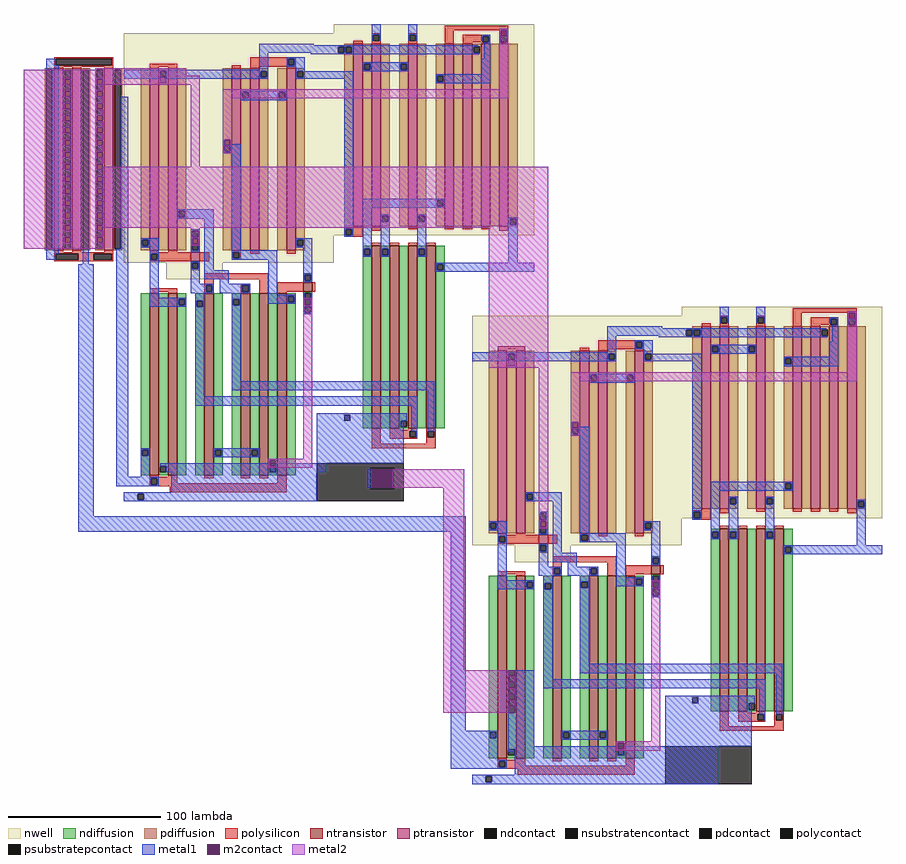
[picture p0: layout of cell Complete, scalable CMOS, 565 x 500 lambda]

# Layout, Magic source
magic
tech scmos
<< polysilicon >>
rect -363 295 -324 296
rect -363 291 -362 295
rect -325 291 -324 295
rect -363 290 -324 291
rect -363 289 -357 290
rect -351 289 -345 290
rect -330 289 -324 290
rect -363 168 -357 169
rect -351 168 -345 169
rect -330 168 -324 169
rect -363 167 -324 168
rect -363 163 -362 167
rect -347 163 -337 167
rect -325 163 -324 167
rect -363 162 -324 163
<< ndiffusion >>
rect -155 12 -139 26
<< pdiffusion >>
rect -369 288 -363 289
rect -369 170 -368 288
rect -364 170 -363 288
rect -369 169 -363 170
rect -357 288 -351 289
rect -357 282 -356 288
rect -352 282 -351 288
rect -357 278 -351 282
rect -357 274 -356 278
rect -352 274 -351 278
rect -357 270 -351 274
rect -357 266 -356 270
rect -352 266 -351 270
rect -357 262 -351 266
rect -357 258 -356 262
rect -352 258 -351 262
rect -357 254 -351 258
rect -357 250 -356 254
rect -352 250 -351 254
rect -357 246 -351 250
rect -357 242 -356 246
rect -352 242 -351 246
rect -357 238 -351 242
rect -357 234 -356 238
rect -352 234 -351 238
rect -357 230 -351 234
rect -357 226 -356 230
rect -352 226 -351 230
rect -357 222 -351 226
rect -357 218 -356 222
rect -352 218 -351 222
rect -357 214 -351 218
rect -357 210 -356 214
rect -352 210 -351 214
rect -357 206 -351 210
rect -357 202 -356 206
rect -352 202 -351 206
rect -357 198 -351 202
rect -357 194 -356 198
rect -352 194 -351 198
rect -357 190 -351 194
rect -357 186 -356 190
rect -352 186 -351 190
rect -357 182 -351 186
rect -357 178 -356 182
rect -352 178 -351 182
rect -357 174 -351 178
rect -357 170 -356 174
rect -352 170 -351 174
rect -357 169 -351 170
rect -345 288 -339 289
rect -345 170 -344 288
rect -340 170 -339 288
rect -345 169 -339 170
rect -336 288 -330 289
rect -336 282 -335 288
rect -331 282 -330 288
rect -336 278 -330 282
rect -336 274 -335 278
rect -331 274 -330 278
rect -336 270 -330 274
rect -336 266 -335 270
rect -331 266 -330 270
rect -336 262 -330 266
rect -336 258 -335 262
rect -331 258 -330 262
rect -336 254 -330 258
rect -336 250 -335 254
rect -331 250 -330 254
rect -336 246 -330 250
rect -336 242 -335 246
rect -331 242 -330 246
rect -336 238 -330 242
rect -336 234 -335 238
rect -331 234 -330 238
rect -336 230 -330 234
rect -336 226 -335 230
rect -331 226 -330 230
rect -336 222 -330 226
rect -336 218 -335 222
rect -331 218 -330 222
rect -336 214 -330 218
rect -336 210 -335 214
rect -331 210 -330 214
rect -336 206 -330 210
rect -336 202 -335 206
rect -331 202 -330 206
rect -336 198 -330 202
rect -336 194 -335 198
rect -331 194 -330 198
rect -336 190 -330 194
rect -336 186 -335 190
rect -331 186 -330 190
rect -336 182 -330 186
rect -336 178 -335 182
rect -331 178 -330 182
rect -336 174 -330 178
rect -336 170 -335 174
rect -331 170 -330 174
rect -336 169 -330 170
rect -324 288 -318 289
rect -324 170 -323 288
rect -319 170 -318 288
rect -324 169 -318 170
<< metal1 >>
rect -368 291 -362 295
rect -368 288 -360 291
rect -364 170 -360 288
rect -319 170 -314 270
rect -368 167 -360 170
rect -368 163 -362 167
rect -344 160 -340 170
rect -347 -6 -337 160
rect -322 14 -314 170
rect -157 13 -154 25
rect -347 -16 -92 -6
rect -102 -147 -92 -16
rect -60 -135 -47 -107
rect -102 -172 -72 -147
rect -64 -157 -47 -135
rect -64 -161 74 -157
rect -60 -182 74 -161
<< metal2 >>
rect -336 288 -276 289
rect -383 282 -276 288
rect -383 278 -356 282
rect -352 278 -335 282
rect -331 278 -276 282
rect -383 274 -331 278
rect -383 270 -356 274
rect -352 270 -335 274
rect -383 266 -331 270
rect -383 262 -356 266
rect -352 262 -335 266
rect -383 258 -331 262
rect -383 254 -356 258
rect -352 254 -335 258
rect -383 250 -331 254
rect -383 246 -356 250
rect -352 246 -335 250
rect -383 242 -331 246
rect -383 238 -356 242
rect -352 238 -335 242
rect -383 234 -331 238
rect -383 230 -356 234
rect -352 230 -335 234
rect -383 226 -331 230
rect -383 222 -356 226
rect -352 222 -335 226
rect -331 222 -38 224
rect -383 218 -38 222
rect -383 214 -356 218
rect -352 214 -335 218
rect -331 214 -38 218
rect -383 210 -38 214
rect -383 206 -356 210
rect -352 206 -335 210
rect -331 206 -38 210
rect -383 202 -38 206
rect -383 198 -356 202
rect -352 198 -335 202
rect -331 198 -38 202
rect -383 194 -38 198
rect -383 190 -356 194
rect -352 190 -335 194
rect -331 190 -38 194
rect -383 186 -38 190
rect -383 182 -356 186
rect -352 182 -335 186
rect -331 184 -38 186
rect -383 178 -331 182
rect -383 174 -356 178
rect -352 174 -335 178
rect -383 170 -331 174
rect -77 92 -38 184
rect -140 13 -93 25
rect -107 -107 -93 13
rect -107 -111 -64 -107
rect -107 -115 -60 -111
rect -107 -119 -64 -115
rect -107 -123 -60 -119
rect -107 -127 -64 -123
rect -107 -131 -60 -127
rect -107 -135 -64 -131
<< ptransistor >>
rect -363 169 -357 289
rect -351 169 -345 289
rect -330 169 -324 289
<< polycontact >>
rect -362 291 -325 295
rect -362 163 -347 167
rect -337 163 -325 167
<< ndcontact >>
rect -64 -115 -60 -111
rect -64 -123 -60 -119
rect -64 -131 -60 -127
<< pdcontact >>
rect -368 170 -364 288
rect -356 282 -352 288
rect -356 274 -352 278
rect -356 266 -352 270
rect -356 258 -352 262
rect -356 250 -352 254
rect -356 242 -352 246
rect -356 234 -352 238
rect -356 226 -352 230
rect -356 218 -352 222
rect -356 210 -352 214
rect -356 202 -352 206
rect -356 194 -352 198
rect -356 186 -352 190
rect -356 178 -352 182
rect -356 170 -352 174
rect -344 170 -340 288
rect -335 282 -331 288
rect -335 274 -331 278
rect -335 266 -331 270
rect -335 258 -331 262
rect -335 250 -331 254
rect -335 242 -331 246
rect -335 234 -331 238
rect -335 226 -331 230
rect -335 218 -331 222
rect -335 210 -331 214
rect -335 202 -331 206
rect -335 194 -331 198
rect -335 186 -331 190
rect -335 178 -331 182
rect -335 170 -331 174
rect -323 170 -319 288
<< m2contact >>
rect -356 278 -352 282
rect -356 270 -352 274
rect -356 262 -352 266
rect -356 254 -352 258
rect -356 246 -352 250
rect -356 238 -352 242
rect -356 230 -352 234
rect -356 222 -352 226
rect -356 214 -352 218
rect -356 206 -352 210
rect -356 198 -352 202
rect -356 190 -352 194
rect -356 182 -352 186
rect -356 174 -352 178
rect -335 278 -331 282
rect -335 270 -331 274
rect -335 262 -331 266
rect -335 254 -331 258
rect -335 246 -331 250
rect -335 238 -331 242
rect -335 230 -331 234
rect -335 222 -331 226
rect -335 214 -331 218
rect -335 206 -331 210
rect -335 198 -331 202
rect -335 190 -331 194
rect -335 182 -331 186
rect -335 174 -331 178
rect -154 13 -140 25
rect -64 -111 -60 -107
rect -64 -119 -60 -115
rect -64 -127 -60 -123
rect -64 -135 -60 -131
use Opamp  Opamp_0
transform 1 0 -124 0 1 15
box -193 -11 77 303
use Opamp  Opamp_1
transform 1 0 105 0 1 -171
box -193 -11 77 303
<< end >>

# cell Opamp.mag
magic
tech scmos
<< metal1 >>
rect -66 14 -9 47
rect -160 -11 -66 14
<< psubstratepcontact >>
rect -66 -11 -9 14
use Bias  Bias_0
transform 1 0 -262 0 1 255
box 69 -266 207 42
use FCDAmp  FCDAmp_0
transform 1 0 -28 0 1 92
box -27 -68 105 211
<< labels >>
rlabel metal1 -52 10 -37 47 1 Gnd
<< end >>

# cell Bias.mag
magic
tech scmos
<< nwell >>
rect 69 -109 207 42
rect 97 -120 134 -109
<< ntransistor >>
rect 187 -128 193 -122
rect 86 -249 92 -129
rect 98 -249 104 -129
rect 122 -249 128 -129
rect 146 -249 152 -129
rect 158 -249 164 -129
rect 170 -249 176 -129
<< ptransistor >>
rect 86 -101 92 19
rect 98 -101 104 19
rect 140 -101 146 19
rect 152 -101 158 19
rect 176 -101 182 19
rect 113 -108 119 -102
<< ndiffusion >>
rect 187 -117 193 -116
rect 187 -121 188 -117
rect 192 -121 193 -117
rect 187 -122 193 -121
rect 187 -129 193 -128
rect 80 -232 86 -129
rect 80 -236 81 -232
rect 85 -236 86 -232
rect 80 -249 86 -236
rect 92 -243 98 -129
rect 92 -247 93 -243
rect 97 -247 98 -243
rect 92 -249 98 -247
rect 104 -133 110 -129
rect 104 -137 105 -133
rect 109 -137 110 -133
rect 104 -249 110 -137
rect 116 -134 122 -129
rect 116 -138 117 -134
rect 121 -138 122 -134
rect 116 -249 122 -138
rect 128 -232 134 -129
rect 128 -236 129 -232
rect 133 -236 134 -232
rect 128 -249 134 -236
rect 140 -133 146 -129
rect 140 -137 141 -133
rect 145 -137 146 -133
rect 140 -249 146 -137
rect 152 -232 158 -129
rect 152 -236 153 -232
rect 157 -236 158 -232
rect 152 -249 158 -236
rect 164 -243 170 -129
rect 164 -247 165 -243
rect 169 -247 170 -243
rect 164 -249 170 -247
rect 176 -131 182 -129
rect 176 -135 177 -131
rect 181 -135 182 -131
rect 176 -249 182 -135
rect 187 -133 188 -129
rect 192 -133 193 -129
rect 187 -138 193 -133
<< pdiffusion >>
rect 80 -94 86 19
rect 80 -98 81 -94
rect 85 -98 86 -94
rect 80 -101 86 -98
rect 92 17 98 19
rect 92 13 93 17
rect 97 13 98 17
rect 92 -101 98 13
rect 104 -75 110 19
rect 104 -79 105 -75
rect 109 -79 110 -75
rect 104 -101 110 -79
rect 134 -32 140 19
rect 134 -36 135 -32
rect 139 -36 140 -32
rect 113 -97 119 -92
rect 113 -101 114 -97
rect 118 -101 119 -97
rect 134 -101 140 -36
rect 146 3 152 19
rect 146 -1 147 3
rect 151 -1 152 3
rect 146 -101 152 -1
rect 158 17 164 19
rect 158 13 159 17
rect 163 13 164 17
rect 158 -101 164 13
rect 170 3 176 19
rect 170 -1 171 3
rect 175 -1 176 3
rect 170 -101 176 -1
rect 182 17 188 19
rect 182 13 183 17
rect 187 13 188 17
rect 182 -94 188 13
rect 182 -98 183 -94
rect 187 -98 188 -94
rect 182 -101 188 -98
rect 113 -102 119 -101
rect 113 -109 119 -108
rect 113 -113 114 -109
rect 118 -113 119 -109
rect 113 -114 119 -113
<< ndcontact >>
rect 188 -121 192 -117
rect 81 -236 85 -232
rect 93 -247 97 -243
rect 105 -137 109 -133
rect 117 -138 121 -134
rect 129 -236 133 -232
rect 141 -137 145 -133
rect 153 -236 157 -232
rect 165 -247 169 -243
rect 177 -135 181 -131
rect 188 -133 192 -129
<< pdcontact >>
rect 81 -98 85 -94
rect 93 13 97 17
rect 105 -79 109 -75
rect 135 -36 139 -32
rect 114 -101 118 -97
rect 147 -1 151 3
rect 159 13 163 17
rect 171 -1 175 3
rect 183 13 187 17
rect 183 -98 187 -94
rect 114 -113 118 -109
<< psubstratepcontact >>
rect 188 -142 192 -138
rect 78 -265 82 -261
<< nsubstratencontact >>
rect 114 -92 118 -88
<< polysilicon >>
rect 152 25 182 26
rect 86 20 104 22
rect 152 21 177 25
rect 181 21 182 25
rect 86 19 92 20
rect 98 19 104 20
rect 140 19 146 21
rect 152 20 182 21
rect 152 19 158 20
rect 176 19 182 20
rect 86 -102 92 -101
rect 98 -102 104 -101
rect 140 -102 146 -101
rect 86 -103 113 -102
rect 86 -107 87 -103
rect 91 -107 113 -103
rect 86 -108 113 -107
rect 119 -108 125 -102
rect 140 -106 141 -102
rect 145 -106 146 -102
rect 152 -103 158 -101
rect 176 -103 182 -101
rect 140 -107 146 -106
rect 122 -120 164 -116
rect 122 -124 128 -120
rect 86 -128 104 -126
rect 86 -129 92 -128
rect 98 -129 104 -128
rect 122 -128 123 -124
rect 127 -128 128 -124
rect 122 -129 128 -128
rect 146 -124 152 -123
rect 146 -128 147 -124
rect 151 -128 152 -124
rect 146 -129 152 -128
rect 158 -129 164 -120
rect 170 -128 187 -122
rect 193 -128 195 -122
rect 170 -129 176 -128
rect 86 -250 92 -249
rect 98 -250 104 -249
rect 86 -251 104 -250
rect 122 -251 128 -249
rect 146 -251 152 -249
rect 158 -251 164 -249
rect 86 -255 87 -251
rect 91 -254 104 -251
rect 170 -254 176 -249
rect 91 -255 176 -254
rect 86 -256 176 -255
rect 99 -260 176 -256
<< polycontact >>
rect 177 21 181 25
rect 87 -107 91 -103
rect 141 -106 145 -102
rect 123 -128 127 -124
rect 147 -128 151 -124
rect 87 -255 91 -251
<< metal1 >>
rect 158 34 194 35
rect 158 29 207 34
rect 158 18 164 29
rect 192 28 207 29
rect 176 25 188 26
rect 176 21 177 25
rect 181 21 188 25
rect 176 20 188 21
rect 69 17 164 18
rect 69 12 93 17
rect 97 13 159 17
rect 163 13 164 17
rect 97 12 164 13
rect 182 17 188 20
rect 182 13 183 17
rect 187 13 207 17
rect 182 12 207 13
rect 146 3 176 4
rect 146 -1 147 3
rect 151 -1 171 3
rect 175 -1 176 3
rect 146 -2 176 -1
rect 134 -36 135 -31
rect 139 -36 146 -31
rect 134 -37 146 -36
rect 104 -75 128 -74
rect 104 -79 105 -75
rect 109 -79 128 -75
rect 104 -80 128 -79
rect 113 -88 119 -87
rect 113 -92 114 -88
rect 118 -92 119 -88
rect 113 -93 119 -92
rect 80 -94 92 -93
rect 80 -98 81 -94
rect 85 -98 92 -94
rect 80 -99 92 -98
rect 86 -103 92 -99
rect 113 -101 114 -93
rect 118 -101 119 -93
rect 113 -102 119 -101
rect 86 -107 87 -103
rect 91 -107 92 -103
rect 86 -132 92 -107
rect 113 -109 119 -108
rect 113 -113 114 -109
rect 118 -113 119 -109
rect 113 -123 119 -113
rect 122 -114 128 -80
rect 140 -101 146 -37
rect 182 -94 193 -93
rect 182 -98 183 -94
rect 187 -98 193 -94
rect 182 -99 193 -98
rect 140 -102 170 -101
rect 140 -106 141 -102
rect 145 -106 170 -102
rect 140 -107 170 -106
rect 122 -120 138 -114
rect 132 -123 138 -120
rect 113 -124 128 -123
rect 113 -128 123 -124
rect 127 -128 128 -124
rect 113 -129 128 -128
rect 132 -124 152 -123
rect 132 -128 147 -124
rect 151 -128 152 -124
rect 132 -129 152 -128
rect 86 -133 110 -132
rect 86 -137 105 -133
rect 109 -137 110 -133
rect 86 -138 110 -137
rect 116 -134 122 -129
rect 116 -138 117 -134
rect 121 -138 122 -134
rect 116 -197 122 -138
rect 140 -133 146 -129
rect 140 -137 141 -133
rect 145 -137 146 -133
rect 164 -130 170 -107
rect 187 -117 193 -99
rect 187 -121 188 -117
rect 192 -121 193 -117
rect 187 -122 193 -121
rect 164 -131 182 -130
rect 164 -135 177 -131
rect 181 -135 182 -131
rect 164 -136 182 -135
rect 140 -187 146 -137
rect 187 -137 188 -129
rect 192 -137 193 -129
rect 187 -138 193 -137
rect 187 -142 188 -138
rect 192 -142 193 -138
rect 187 -143 193 -142
rect 140 -193 207 -187
rect 116 -203 207 -197
rect 196 -214 207 -208
rect 80 -232 86 -231
rect 80 -236 81 -232
rect 85 -236 86 -232
rect 80 -250 86 -236
rect 128 -232 158 -231
rect 128 -236 129 -232
rect 133 -236 153 -232
rect 157 -236 158 -232
rect 128 -237 158 -236
rect 93 -243 165 -241
rect 196 -241 202 -214
rect 97 -247 165 -243
rect 169 -247 202 -241
rect 69 -251 92 -250
rect 69 -255 87 -251
rect 91 -255 92 -251
rect 69 -256 92 -255
rect 100 -260 106 -247
rect 69 -261 106 -260
rect 69 -265 78 -261
rect 82 -265 106 -261
rect 69 -266 106 -265
<< m2contact >>
rect 93 9 97 13
rect 135 -32 139 -28
rect 114 -97 118 -93
rect 188 -137 192 -133
rect 165 -243 169 -239
<< metal2 >>
rect 92 13 119 14
rect 92 9 93 13
rect 97 9 119 13
rect 92 8 119 9
rect 113 -93 119 8
rect 134 -1 207 5
rect 134 -28 140 -1
rect 134 -32 135 -28
rect 139 -32 140 -28
rect 134 -37 140 -32
rect 113 -97 114 -93
rect 118 -97 119 -93
rect 113 -98 119 -97
rect 187 -133 193 -132
rect 187 -137 188 -133
rect 192 -137 193 -133
rect 187 -238 193 -137
rect 164 -239 193 -238
rect 164 -243 165 -239
rect 169 -243 193 -239
rect 164 -244 193 -243
<< labels >>
rlabel metal1 192 28 207 34 1 Vdd
rlabel metal1 187 12 207 17 1 Vbp
rlabel metal2 134 -1 207 5 1 Vcp
rlabel metal1 140 -193 207 -187 1 Vcn
rlabel metal1 116 -203 207 -197 1 Vbn
rlabel metal1 69 -256 87 -250 1 Iin
rlabel metal1 69 12 93 18 1 Vdd
rlabel metal1 86 -138 92 -107 1 Iip
<< end >>

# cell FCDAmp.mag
magic
tech scmos
<< nwell >>
rect -27 72 105 211
<< ntransistor >>
rect -2 -55 4 65
rect 10 -55 16 65
rect 22 -55 28 65
rect 34 -55 40 65
<< ptransistor >>
rect -14 78 -8 198
rect -2 78 4 198
rect 22 78 28 198
rect 46 78 52 198
rect 58 78 64 198
rect 70 78 76 198
rect 82 78 88 198
<< ndiffusion >>
rect -8 63 -2 65
rect -8 59 -7 63
rect -3 59 -2 63
rect -8 -55 -2 59
rect 4 63 10 65
rect 4 59 5 63
rect 9 59 10 63
rect 4 -55 10 59
rect 16 -50 22 65
rect 16 -54 17 -50
rect 21 -54 22 -50
rect 16 -55 22 -54
rect 28 63 34 65
rect 28 59 29 63
rect 33 59 34 63
rect 28 -55 34 59
rect 40 53 46 65
rect 40 49 41 53
rect 45 49 46 53
rect 40 -55 46 49
<< pdiffusion >>
rect -20 196 -14 198
rect -20 192 -19 196
rect -15 192 -14 196
rect -20 78 -14 192
rect -8 185 -2 198
rect -8 181 -7 185
rect -3 181 -2 185
rect -8 78 -2 181
rect 4 85 10 198
rect 4 81 5 85
rect 9 81 10 85
rect 4 78 10 81
rect 16 185 22 198
rect 16 181 17 185
rect 21 181 22 185
rect 16 78 22 181
rect 28 85 34 198
rect 28 81 29 85
rect 33 81 34 85
rect 28 78 34 81
rect 40 177 46 198
rect 40 173 41 177
rect 45 173 46 177
rect 40 95 46 173
rect 40 91 41 95
rect 45 91 46 95
rect 40 78 46 91
rect 52 78 58 198
rect 64 196 70 198
rect 64 192 65 196
rect 69 192 70 196
rect 64 78 70 192
rect 76 78 82 198
rect 88 83 94 198
rect 88 79 89 83
rect 93 79 94 83
rect 88 78 94 79
<< ndcontact >>
rect -7 59 -3 63
rect 5 59 9 63
rect 17 -54 21 -50
rect 29 59 33 63
rect 41 49 45 53
<< pdcontact >>
rect -19 192 -15 196
rect -7 181 -3 185
rect 5 81 9 85
rect 17 181 21 185
rect 29 81 33 85
rect 41 173 45 177
rect 41 91 45 95
rect 65 192 69 196
rect 89 79 93 83
<< psubstratepcontact >>
rect -20 -50 -16 -46
<< nsubstratencontact >>
rect -24 192 -20 196
<< polysilicon >>
rect 46 207 88 210
rect -2 204 4 205
rect -2 200 -1 204
rect 3 200 4 204
rect -14 198 -8 200
rect -2 198 4 200
rect 22 204 28 205
rect 22 200 23 204
rect 27 200 28 204
rect 22 198 28 200
rect 46 198 52 207
rect 58 203 76 204
rect 58 199 71 203
rect 75 199 76 203
rect 58 198 64 199
rect 70 198 76 199
rect 82 203 88 207
rect 82 199 83 203
rect 87 199 88 203
rect 82 198 88 199
rect -14 77 -8 78
rect -20 76 -8 77
rect -20 72 -19 76
rect -15 72 -8 76
rect -2 75 4 78
rect 22 76 28 78
rect 46 76 52 78
rect 58 76 64 78
rect 70 76 76 78
rect 82 75 88 78
rect -20 71 -8 72
rect -2 65 4 67
rect 10 65 16 67
rect 22 65 28 67
rect 34 65 40 67
rect -2 -65 4 -55
rect 10 -56 16 -55
rect 22 -56 28 -55
rect 10 -57 28 -56
rect 10 -61 23 -57
rect 27 -61 28 -57
rect 10 -62 28 -61
rect 34 -57 40 -55
rect 34 -61 35 -57
rect 39 -61 40 -57
rect 34 -65 40 -61
rect -2 -68 40 -65
<< polycontact >>
rect -1 200 3 204
rect 23 200 27 204
rect 71 199 75 203
rect 83 199 87 203
rect -19 72 -15 76
rect 23 -61 27 -57
rect 35 -61 39 -57
<< metal1 >>
rect -2 204 4 211
rect -2 200 -1 204
rect 3 200 4 204
rect 22 204 28 211
rect 22 200 23 204
rect 27 200 28 204
rect 70 203 76 204
rect 70 200 71 203
rect 75 199 76 203
rect 82 199 83 204
rect 87 199 88 204
rect -27 196 68 197
rect -27 192 -24 196
rect -20 192 -19 196
rect -15 192 65 196
rect -27 191 69 192
rect 72 188 76 199
rect -8 185 22 186
rect -8 181 -7 185
rect -3 181 17 185
rect 21 181 22 185
rect -8 180 22 181
rect -27 175 -14 180
rect 70 178 76 188
rect -20 76 -14 175
rect 40 177 76 178
rect 40 173 41 177
rect 45 173 76 177
rect 40 172 76 173
rect -20 72 -19 76
rect -15 72 -14 76
rect -20 71 -14 72
rect -8 95 46 96
rect -8 91 41 95
rect 45 91 46 95
rect -8 90 46 91
rect -8 63 -2 90
rect -8 59 -7 63
rect -3 59 -2 63
rect -8 58 -2 59
rect 4 85 10 86
rect 4 81 5 85
rect 9 81 10 85
rect 4 63 10 81
rect 4 59 5 63
rect 9 59 10 63
rect 4 58 10 59
rect 28 85 34 86
rect 28 81 29 85
rect 33 81 34 85
rect 28 63 34 81
rect 28 59 29 63
rect 33 59 34 63
rect 28 58 34 59
rect 88 83 94 84
rect 88 79 89 83
rect 93 79 94 83
rect 88 54 94 79
rect 40 53 105 54
rect 40 49 41 53
rect 45 49 105 53
rect 40 48 105 49
rect -27 -30 39 -24
rect -27 -40 28 -34
rect -27 -46 21 -45
rect -27 -50 -20 -46
rect -16 -50 21 -46
rect -27 -51 17 -50
rect 16 -54 17 -51
rect 24 -57 28 -40
rect 27 -61 28 -57
rect 35 -57 39 -30
<< m2contact >>
rect 83 203 87 207
<< metal2 >>
rect 82 207 88 208
rect 82 203 83 207
rect 87 203 88 207
rect 82 168 88 203
rect -27 162 88 168
<< labels >>
rlabel metal1 -25 191 -24 197 3 Vdd
rlabel metal1 -25 175 -14 180 1 Vbp
rlabel metal2 -25 162 88 168 1 Vcp
rlabel metal1 95 48 105 54 7 Out
rlabel metal1 -25 -30 39 -24 1 Vcn
rlabel metal1 -25 -40 28 -34 1 Vbn
rlabel metal1 -16 -51 17 -45 1 Gnd
rlabel metal1 22 204 28 211 5 V1
rlabel nwell -2 200 4 211 1 V2
<< end >>
